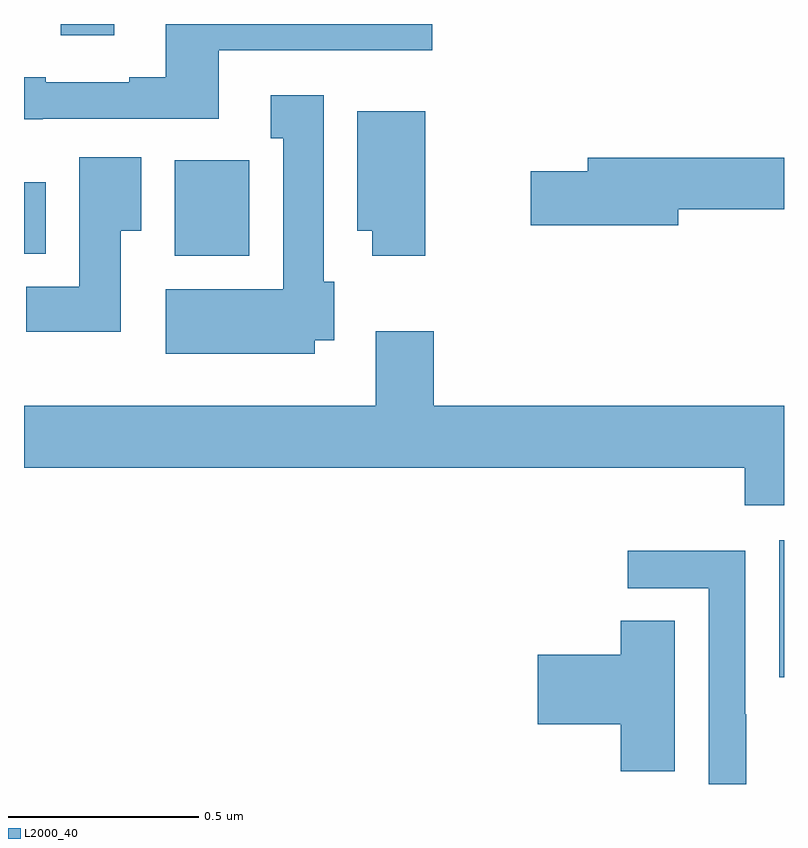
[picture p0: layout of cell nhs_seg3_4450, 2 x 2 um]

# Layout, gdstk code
import gdstk
lib = gdstk.Library(unit=1e-6, precision=1e-09)
def R(c, l, rs):  # rectangles x0, y0, x1, y1
    for r in rs: c.add(gdstk.rectangle(r[:2], r[2:], *l))
def P(c, l, *ps):  # polygons
    for p in ps: c.add(gdstk.Polygon(p, *l))
L2000_40 = (2000, 40)

nhs_seg3_4450 = lib.new_cell('nhs_seg3_4450')
R(nhs_seg3_4450, L2000_40, [(167.987,717.681,168,718.042), (166.397,718.79,166.593,719.041), (166,718.796,166.057,718.984), (166.097,719.37,166.237,719.4)])
P(nhs_seg3_4450, L2000_40, [(166.049,719.151),(166.513,719.151),(166.513,719.331),(167.074,719.331),(167.074,719.4),(166.373,719.4),(166.373,719.26),(166.277,719.26),(166.277,719.247),(166.057,719.247),(166.057,719.26),(166,719.26),(166,719.15),(166.049,719.15)],
  [(166.765,718.568),(166.816,718.568),(166.816,718.722),(166.789,718.722),(166.789,719.212),(166.649,719.212),(166.649,719.099),(166.682,719.099),(166.682,718.702),(166.373,718.702),(166.373,718.532),(166.765,718.532)],
  [(167.056,719.17),(166.877,719.17),(166.877,718.856),(166.916,718.856),(166.916,718.79),(167.056,718.79)],
  [(166.255,718.856),(166.309,718.856),(166.309,719.05),(166.145,719.05),(166.145,718.708),(166.006,718.708),(166.006,718.59),(166.255,718.59)],
  [(167.722,718.912),(168,718.912),(168,719.048),(167.483,719.048),(167.483,719.012),(167.334,719.012),(167.334,718.87),(167.722,718.87)],
  [(168,718.396),(167.078,718.396),(167.078,718.591),(166.925,718.591),(166.925,718.396),(166,718.396),(166,718.232),(167.897,718.232),(167.897,718.133),(168,718.133)],
  [(167.901,717.584),(167.898,717.584),(167.898,718.014),(167.589,718.014),(167.589,717.915),(167.802,717.915),(167.802,717.4),(167.901,717.4)],
  [(167.713,717.83),(167.57,717.83),(167.57,717.74),(167.352,717.74),(167.352,717.557),(167.57,717.557),(167.57,717.433),(167.713,717.433)])

lib.write_gds('nhs_seg3_4450.gds')
